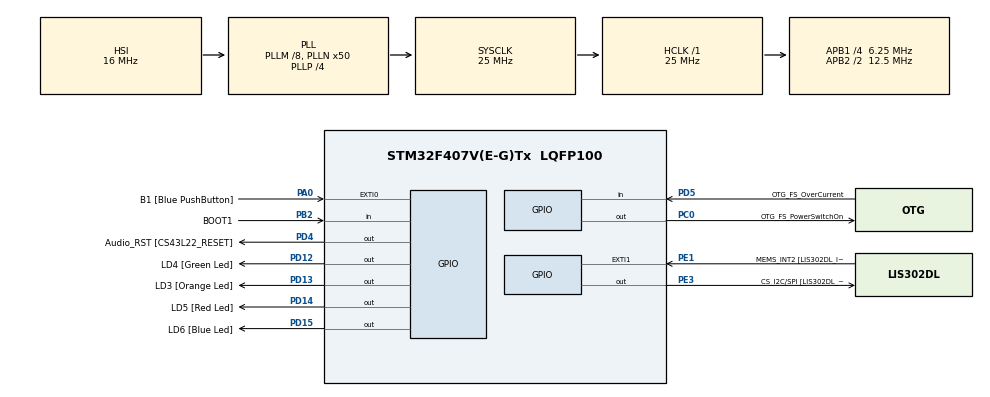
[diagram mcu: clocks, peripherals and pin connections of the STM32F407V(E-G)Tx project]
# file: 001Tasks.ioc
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Mcu.Family=STM32F4
Mcu.Name=STM32F407V(E-G)Tx
Mcu.Package=LQFP100
NVIC.PriorityGroup=NVIC_PRIORITYGROUP_4
NVIC.TIM6_DAC_IRQn=true\:0\:0\:false\:false\:true\:false\:true
NVIC.TimeBase=TIM6_DAC_IRQn
NVIC.TimeBaseIP=TIM6
PA0-WKUP.GPIO_Label=B1 [Blue PushButton]
PA0-WKUP.Signal=GPXTI0
PA10.GPIO_Label=OTG_FS_ID
PA10.GPIO_Mode=GPIO_MODE_AF_PP
PA10.GPIO_PuPd=GPIO_NOPULL
PA10.GPIO_Speed=GPIO_SPEED_FREQ_LOW
PA10.Signal=USB_OTG_FS_ID
PA11.GPIO_Label=OTG_FS_DM
PA11.GPIO_Mode=GPIO_MODE_AF_PP
PA11.GPIO_PuPd=GPIO_NOPULL
PA11.GPIO_Speed=GPIO_SPEED_FREQ_LOW
PA11.Signal=USB_OTG_FS_DM
PA12.GPIO_Label=OTG_FS_DP
PA12.GPIO_Mode=GPIO_MODE_AF_PP
PA12.GPIO_PuPd=GPIO_NOPULL
PA12.GPIO_Speed=GPIO_SPEED_FREQ_LOW
PA12.Signal=USB_OTG_FS_DP
PA13.GPIO_Label=SWDIO
PA13.Signal=SYS_JTMS-SWDIO
PA14.GPIO_Label=SWCLK
PA14.Signal=SYS_JTCK-SWCLK
PA4.GPIO_Label=I2S3_WS [CS43L22_LRCK]
PA4.GPIO_Mode=GPIO_MODE_AF_PP
PA4.GPIO_PuPd=GPIO_NOPULL
PA4.GPIO_Speed=GPIO_SPEED_FREQ_LOW
PA4.Signal=I2S3_WS
PA5.GPIO_Label=SPI1_SCK [LIS302DL_SCL/SPC]
PA5.GPIO_Mode=GPIO_MODE_AF_PP
PA5.GPIO_PuPd=GPIO_NOPULL
PA5.GPIO_Speed=GPIO_SPEED_FREQ_LOW
PA5.Signal=SPI1_SCK
PA6.GPIO_Label=SPI1_MISO [LIS302DL_SDO]
PA6.GPIO_Mode=GPIO_MODE_AF_PP
PA6.GPIO_PuPd=GPIO_NOPULL
PA6.GPIO_Speed=GPIO_SPEED_FREQ_LOW
PA6.Signal=SPI1_MISO
PA7.GPIO_Label=SPI1_MOSI [LIS302DL_SDA/SDI/SDO]
PA7.GPIO_Mode=GPIO_MODE_AF_PP
PA7.GPIO_PuPd=GPIO_NOPULL
PA7.GPIO_Speed=GPIO_SPEED_FREQ_LOW
PA7.Signal=SPI1_MOSI
PA9.GPIO_Label=VBUS_FS
PA9.GPIO_Mode=GPIO_MODE_INPUT
PA9.GPIO_PuPd=GPIO_NOPULL
PA9.Signal=USB_OTG_FS_VBUS
PB10.GPIO_Label=CLK_IN [MP45DT02_CLK]
PB10.GPIO_Mode=GPIO_MODE_AF_PP
PB10.GPIO_PuPd=GPIO_NOPULL
PB10.GPIO_Speed=GPIO_SPEED_FREQ_LOW
PB10.Signal=I2S2_CK
PB2.GPIO_Label=BOOT1
PB2.GPIO_Mode=GPIO_MODE_INPUT
PB2.GPIO_PuPd=GPIO_NOPULL
PB2.Signal=GPIO_Input
PB3.GPIO_Label=SWO
PB3.Signal=SYS_JTDO-SWO
PB6.GPIO_Label=Audio_SCL [CS43L22_SCL]
PB6.GPIO_Mode=GPIO_MODE_AF_OD
PB6.GPIO_PuPd=GPIO_NOPULL
PB6.GPIO_Speed=GPIO_SPEED_FREQ_LOW
PB6.Signal=I2C1_SCL
PB9.GPIO_Label=Audio_SDA [CS43L22_SDA]
PB9.GPIO_Mode=GPIO_MODE_AF_OD
PB9.GPIO_PuPd=GPIO_NOPULL
PB9.GPIO_Speed=GPIO_SPEED_FREQ_LOW
PB9.Signal=I2C1_SDA
PC0.GPIO_Label=OTG_FS_PowerSwitchOn
PC0.GPIO_PuPd=GPIO_NOPULL
PC0.GPIO_Speed=GPIO_SPEED_FREQ_LOW
PC0.PinState=GPIO_PIN_SET
PC0.Signal=GPIO_Output
PC10.GPIO_Label=I2S3_SCK [CS43L22_SCLK]
PC10.GPIO_Mode=GPIO_MODE_AF_PP
PC10.GPIO_PuPd=GPIO_NOPULL
PC10.GPIO_Speed=GPIO_SPEED_FREQ_LOW
PC10.Signal=I2S3_CK
PC12.GPIO_Label=I2S3_SD [CS43L22_SDIN]
PC12.GPIO_Mode=GPIO_MODE_AF_PP
PC12.GPIO_PuPd=GPIO_NOPULL
PC12.GPIO_Speed=GPIO_SPEED_FREQ_LOW
PC12.Signal=I2S3_SD
PC14-OSC32_IN.GPIO_Label=PC14-OSC32_IN
PC14-OSC32_IN.Signal=RCC_OSC32_IN
PC15-OSC32_OUT.GPIO_Label=PC15-OSC32_OUT
PC15-OSC32_OUT.Signal=RCC_OSC32_OUT
PC3.GPIO_Label=PDM_OUT [MP45DT02_DOUT]
PC3.GPIO_Mode=GPIO_MODE_AF_PP
PC3.GPIO_PuPd=GPIO_NOPULL
PC3.GPIO_Speed=GPIO_SPEED_FREQ_LOW
PC3.Signal=I2S2_SD
PC7.GPIO_Label=I2S3_MCK [CS43L22_MCLK]
PC7.GPIO_Mode=GPIO_MODE_AF_PP
PC7.GPIO_PuPd=GPIO_NOPULL
PC7.GPIO_Speed=GPIO_SPEED_FREQ_LOW
PC7.Signal=I2S3_MCK
PD12.GPIO_Label=LD4 [Green Led]
PD12.GPIO_PuPd=GPIO_NOPULL
PD12.GPIO_Speed=GPIO_SPEED_FREQ_LOW
PD12.Signal=GPIO_Output
PD13.GPIO_Label=LD3 [Orange Led]
PD13.GPIO_PuPd=GPIO_NOPULL
PD13.GPIO_Speed=GPIO_SPEED_FREQ_LOW
PD13.Signal=GPIO_Output
PD14.GPIO_Label=LD5 [Red Led]
PD14.GPIO_PuPd=GPIO_NOPULL
PD14.GPIO_Speed=GPIO_SPEED_FREQ_LOW
PD14.Signal=GPIO_Output
PD15.GPIO_Label=LD6 [Blue Led]
PD15.GPIO_PuPd=GPIO_NOPULL
PD15.GPIO_Speed=GPIO_SPEED_FREQ_LOW
PD15.Signal=GPIO_Output
PD4.GPIO_Label=Audio_RST [CS43L22_RESET]
PD4.GPIO_PuPd=GPIO_NOPULL
PD4.GPIO_Speed=GPIO_SPEED_FREQ_LOW
PD4.Signal=GPIO_Output
PD5.GPIO_Label=OTG_FS_OverCurrent
PD5.GPIO_Mode=GPIO_MODE_INPUT
PD5.GPIO_PuPd=GPIO_NOPULL
PD5.Signal=GPIO_Input
PE1.GPIO_Label=MEMS_INT2 [LIS302DL_INT2]
PE1.GPIO_ModeDefaultEXTI=GPIO_MODE_EVT_RISING
PE1.GPIO_PuPd=GPIO_NOPULL
PE1.Signal=GPXTI1
PE3.GPIO_Label=CS_I2C/SPI [LIS302DL_CS_I2C/SPI]
PE3.GPIO_PuPd=GPIO_NOPULL
PE3.GPIO_Speed=GPIO_SPEED_FREQ_LOW
PE3.Signal=GPIO_Output
PH0-OSC_IN.GPIO_Label=PH0-OSC_IN
PH0-OSC_IN.Signal=RCC_OSC_IN
PH1-OSC_OUT.GPIO_Label=PH1-OSC_OUT
PH1-OSC_OUT.Signal=RCC_OSC_OUT
ProjectManager.HeapSize=0x200
ProjectManager.StackSize=0x400
ProjectManager.TargetToolchain=STM32CubeIDE
RCC.48MHZClocksFreq_Value=14285714.285714285
RCC.AHBFreq_Value=25000000
RCC.APB1CLKDivider=RCC_HCLK_DIV4
RCC.APB1Freq_Value=6250000
RCC.APB1TimFreq_Value=12500000
RCC.APB2CLKDivider=RCC_HCLK_DIV2
RCC.APB2Freq_Value=12500000
RCC.APB2TimFreq_Value=25000000
RCC.CortexFreq_Value=25000000
RCC.HCLKFreq_Value=25000000
RCC.HSE_VALUE=8000000
RCC.HSI_VALUE=16000000
RCC.LSE_VALUE=32768
RCC.PLLM=8
RCC.PLLN=50
RCC.PLLP=RCC_PLLP_DIV4
RCC.PLLQ=7
RCC.SYSCLKFreq_VALUE=25000000
RCC.SYSCLKSource=RCC_SYSCLKSOURCE_PLLCLK
RCC.VCOOutputFreq_Value=100000000
VP_SYS_VS_tim6.Mode=TIM6
board=STM32F407G-DISC1

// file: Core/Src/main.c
/* USER CODE BEGIN Header */
/**
  ******************************************************************************
  * @file           : main.c
  * @brief          : Main program body
  ******************************************************************************
  * @attention
  *
  * <h2><center>&copy; Copyright (c) 2022 STMicroelectronics.
  * All rights reserved.</center></h2>
  *
  * This software component is licensed by ST under BSD 3-Clause license,
  * the "License"; You may not use this file except in compliance with the
  * License. You may obtain a copy of the License at:
  *                        opensource.org/licenses/BSD-3-Clause
  *
  ******************************************************************************
  */
/* USER CODE END Header */
#include "main.h"

/* USER CODE BEGIN Includes */
#include <stdio.h>
#include "FreeRTOS.h"
#include "task.h"

/* USER CODE END Includes */

void SystemClock_Config(void);
static void MX_GPIO_Init(void);
/* USER CODE BEGIN PFP */
static void task1_handler(void *parameters);
static void task2_handler(void *parameters);
/* USER CODE END PFP */

int main(void)
{
  /* USER CODE BEGIN 1 */
	TaskHandle_t task1_handle;
	TaskHandle_t task2_handle;

	BaseType_t status;

  /* USER CODE END 1 */

  /* MCU Configuration--------------------------------------------------------*/

  /* Reset of all peripherals, Initializes the Flash interface and the Systick. */
  HAL_Init();

  /* USER CODE BEGIN Init */

  status = xTaskCreate(task1_handler, "Task-1", 200, "Hello World from Task-1", 2, &task1_handle);

  configASSERT(status == pdPASS);

  status = xTaskCreate(task2_handler, "Task-2", 200, "Hello World from Task-2", 2, &task2_handle);

  configASSERT(status == pdPASS);

  // if the control comes here then the launch of the schedular has failed due to insufficient memory in heap

  /* USER CODE END Init */

  /* Configure the system clock */
  SystemClock_Config();

  /* Initialize all configured peripherals */
  MX_GPIO_Init();
  /* USER CODE BEGIN 2 */

  // start the freeRTOS schedular
  vTaskStartScheduler();

  /* USER CODE END 2 */

  /* Infinite loop */
  while (1)
  {

  }
}

void SystemClock_Config(void)
{
  RCC_OscInitTypeDef RCC_OscInitStruct = {0};
  RCC_ClkInitTypeDef RCC_ClkInitStruct = {0};

  /** Configure the main internal regulator output voltage
  */
  __HAL_RCC_PWR_CLK_ENABLE();
  __HAL_PWR_VOLTAGESCALING_CONFIG(PWR_REGULATOR_VOLTAGE_SCALE1);
  /** Initializes the RCC Oscillators according to the specified parameters
  * in the RCC_OscInitTypeDef structure.
  */
  RCC_OscInitStruct.OscillatorType = RCC_OSCILLATORTYPE_HSI;
  RCC_OscInitStruct.HSIState = RCC_HSI_ON;
  RCC_OscInitStruct.HSICalibrationValue = RCC_HSICALIBRATION_DEFAULT;
  RCC_OscInitStruct.PLL.PLLState = RCC_PLL_ON;
  RCC_OscInitStruct.PLL.PLLSource = RCC_PLLSOURCE_HSI;
  RCC_OscInitStruct.PLL.PLLM = 8;
  RCC_OscInitStruct.PLL.PLLN = 50;
  RCC_OscInitStruct.PLL.PLLP = RCC_PLLP_DIV4;
  RCC_OscInitStruct.PLL.PLLQ = 7;
  if (HAL_RCC_OscConfig(&RCC_OscInitStruct) != HAL_OK)
  {
    Error_Handler();
  }
  /** Initializes the CPU, AHB and APB buses clocks
  */
  RCC_ClkInitStruct.ClockType = RCC_CLOCKTYPE_HCLK|RCC_CLOCKTYPE_SYSCLK
                              |RCC_CLOCKTYPE_PCLK1|RCC_CLOCKTYPE_PCLK2;
  RCC_ClkInitStruct.SYSCLKSource = RCC_SYSCLKSOURCE_PLLCLK;
  RCC_ClkInitStruct.AHBCLKDivider = RCC_SYSCLK_DIV1;
  RCC_ClkInitStruct.APB1CLKDivider = RCC_HCLK_DIV4;
  RCC_ClkInitStruct.APB2CLKDivider = RCC_HCLK_DIV2;

  if (HAL_RCC_ClockConfig(&RCC_ClkInitStruct, FLASH_LATENCY_0) != HAL_OK)
  {
    Error_Handler();
  }
}

static void MX_GPIO_Init(void)
{
  GPIO_InitTypeDef GPIO_InitStruct = {0};

  /* GPIO Ports Clock Enable */
  __HAL_RCC_GPIOE_CLK_ENABLE();
  __HAL_RCC_GPIOC_CLK_ENABLE();
  __HAL_RCC_GPIOH_CLK_ENABLE();
  __HAL_RCC_GPIOA_CLK_ENABLE();
  __HAL_RCC_GPIOB_CLK_ENABLE();
  __HAL_RCC_GPIOD_CLK_ENABLE();

  /*Configure GPIO pin Output Level */
  HAL_GPIO_WritePin(CS_I2C_SPI_GPIO_Port, CS_I2C_SPI_Pin, GPIO_PIN_RESET);

  /*Configure GPIO pin Output Level */
  HAL_GPIO_WritePin(OTG_FS_PowerSwitchOn_GPIO_Port, OTG_FS_PowerSwitchOn_Pin, GPIO_PIN_SET);

  /*Configure GPIO pin Output Level */
  HAL_GPIO_WritePin(GPIOD, LD4_Pin|LD3_Pin|LD5_Pin|LD6_Pin
                          |Audio_RST_Pin, GPIO_PIN_RESET);

  /*Configure GPIO pin : CS_I2C_SPI_Pin */
  GPIO_InitStruct.Pin = CS_I2C_SPI_Pin;
  GPIO_InitStruct.Mode = GPIO_MODE_OUTPUT_PP;
  GPIO_InitStruct.Pull = GPIO_NOPULL;
  GPIO_InitStruct.Speed = GPIO_SPEED_FREQ_LOW;
  HAL_GPIO_Init(CS_I2C_SPI_GPIO_Port, &GPIO_InitStruct);

  /*Configure GPIO pin : OTG_FS_PowerSwitchOn_Pin */
  GPIO_InitStruct.Pin = OTG_FS_PowerSwitchOn_Pin;
  GPIO_InitStruct.Mode = GPIO_MODE_OUTPUT_PP;
  GPIO_InitStruct.Pull = GPIO_NOPULL;
  GPIO_InitStruct.Speed = GPIO_SPEED_FREQ_LOW;
  HAL_GPIO_Init(OTG_FS_PowerSwitchOn_GPIO_Port, &GPIO_InitStruct);

  /*Configure GPIO pin : PDM_OUT_Pin */
  GPIO_InitStruct.Pin = PDM_OUT_Pin;
  GPIO_InitStruct.Mode = GPIO_MODE_AF_PP;
  GPIO_InitStruct.Pull = GPIO_NOPULL;
  GPIO_InitStruct.Speed = GPIO_SPEED_FREQ_LOW;
  GPIO_InitStruct.Alternate = GPIO_AF5_SPI2;
  HAL_GPIO_Init(PDM_OUT_GPIO_Port, &GPIO_InitStruct);

  /*Configure GPIO pin : B1_Pin */
  GPIO_InitStruct.Pin = B1_Pin;
  GPIO_InitStruct.Mode = GPIO_MODE_IT_RISING;
  GPIO_InitStruct.Pull = GPIO_NOPULL;
  HAL_GPIO_Init(B1_GPIO_Port, &GPIO_InitStruct);

  /*Configure GPIO pin : I2S3_WS_Pin */
  GPIO_InitStruct.Pin = I2S3_WS_Pin;
  GPIO_InitStruct.Mode = GPIO_MODE_AF_PP;
  GPIO_InitStruct.Pull = GPIO_NOPULL;
  GPIO_InitStruct.Speed = GPIO_SPEED_FREQ_LOW;
  GPIO_InitStruct.Alternate = GPIO_AF6_SPI3;
  HAL_GPIO_Init(I2S3_WS_GPIO_Port, &GPIO_InitStruct);

  /*Configure GPIO pins : SPI1_SCK_Pin SPI1_MISO_Pin SPI1_MOSI_Pin */
  GPIO_InitStruct.Pin = SPI1_SCK_Pin|SPI1_MISO_Pin|SPI1_MOSI_Pin;
  GPIO_InitStruct.Mode = GPIO_MODE_AF_PP;
  GPIO_InitStruct.Pull = GPIO_NOPULL;
  GPIO_InitStruct.Speed = GPIO_SPEED_FREQ_LOW;
  GPIO_InitStruct.Alternate = GPIO_AF5_SPI1;
  HAL_GPIO_Init(GPIOA, &GPIO_InitStruct);

  /*Configure GPIO pin : BOOT1_Pin */
  GPIO_InitStruct.Pin = BOOT1_Pin;
  GPIO_InitStruct.Mode = GPIO_MODE_INPUT;
  GPIO_InitStruct.Pull = GPIO_NOPULL;
  HAL_GPIO_Init(BOOT1_GPIO_Port, &GPIO_InitStruct);

  /*Configure GPIO pin : CLK_IN_Pin */
  GPIO_InitStruct.Pin = CLK_IN_Pin;
  GPIO_InitStruct.Mode = GPIO_MODE_AF_PP;
  GPIO_InitStruct.Pull = GPIO_NOPULL;
  GPIO_InitStruct.Speed = GPIO_SPEED_FREQ_LOW;
  GPIO_InitStruct.Alternate = GPIO_AF5_SPI2;
  HAL_GPIO_Init(CLK_IN_GPIO_Port, &GPIO_InitStruct);

  /*Configure GPIO pins : LD4_Pin LD3_Pin LD5_Pin LD6_Pin
                           Audio_RST_Pin */
  GPIO_InitStruct.Pin = LD4_Pin|LD3_Pin|LD5_Pin|LD6_Pin
                          |Audio_RST_Pin;
  GPIO_InitStruct.Mode = GPIO_MODE_OUTPUT_PP;
  GPIO_InitStruct.Pull = GPIO_NOPULL;
  GPIO_InitStruct.Speed = GPIO_SPEED_FREQ_LOW;
  HAL_GPIO_Init(GPIOD, &GPIO_InitStruct);

  /*Configure GPIO pins : I2S3_MCK_Pin I2S3_SCK_Pin I2S3_SD_Pin */
  GPIO_InitStruct.Pin = I2S3_MCK_Pin|I2S3_SCK_Pin|I2S3_SD_Pin;
  GPIO_InitStruct.Mode = GPIO_MODE_AF_PP;
  GPIO_InitStruct.Pull = GPIO_NOPULL;
  GPIO_InitStruct.Speed = GPIO_SPEED_FREQ_LOW;
  GPIO_InitStruct.Alternate = GPIO_AF6_SPI3;
  HAL_GPIO_Init(GPIOC, &GPIO_InitStruct);

  /*Configure GPIO pin : VBUS_FS_Pin */
  GPIO_InitStruct.Pin = VBUS_FS_Pin;
  GPIO_InitStruct.Mode = GPIO_MODE_INPUT;
  GPIO_InitStruct.Pull = GPIO_NOPULL;
  HAL_GPIO_Init(VBUS_FS_GPIO_Port, &GPIO_InitStruct);

  /*Configure GPIO pins : OTG_FS_ID_Pin OTG_FS_DM_Pin OTG_FS_DP_Pin */
  GPIO_InitStruct.Pin = OTG_FS_ID_Pin|OTG_FS_DM_Pin|OTG_FS_DP_Pin;
  GPIO_InitStruct.Mode = GPIO_MODE_AF_PP;
  GPIO_InitStruct.Pull = GPIO_NOPULL;
  GPIO_InitStruct.Speed = GPIO_SPEED_FREQ_LOW;
  GPIO_InitStruct.Alternate = GPIO_AF10_OTG_FS;
  HAL_GPIO_Init(GPIOA, &GPIO_InitStruct);

  /*Configure GPIO pin : OTG_FS_OverCurrent_Pin */
  GPIO_InitStruct.Pin = OTG_FS_OverCurrent_Pin;
  GPIO_InitStruct.Mode = GPIO_MODE_INPUT;
  GPIO_InitStruct.Pull = GPIO_NOPULL;
  HAL_GPIO_Init(OTG_FS_OverCurrent_GPIO_Port, &GPIO_InitStruct);

  /*Configure GPIO pins : Audio_SCL_Pin Audio_SDA_Pin */
  GPIO_InitStruct.Pin = Audio_SCL_Pin|Audio_SDA_Pin;
  GPIO_InitStruct.Mode = GPIO_MODE_AF_OD;
  GPIO_InitStruct.Pull = GPIO_NOPULL;
  GPIO_InitStruct.Speed = GPIO_SPEED_FREQ_LOW;
  GPIO_InitStruct.Alternate = GPIO_AF4_I2C1;
  HAL_GPIO_Init(GPIOB, &GPIO_InitStruct);

  /*Configure GPIO pin : MEMS_INT2_Pin */
  GPIO_InitStruct.Pin = MEMS_INT2_Pin;
  GPIO_InitStruct.Mode = GPIO_MODE_EVT_RISING;
  GPIO_InitStruct.Pull = GPIO_NOPULL;
  HAL_GPIO_Init(MEMS_INT2_GPIO_Port, &GPIO_InitStruct);

}

/* USER CODE BEGIN 4 */

static void task1_handler(void *parameters)
{
	while(1)
	{
		printf("%s\n", (char*)parameters);
	}
}

static void task2_handler(void *parameters)
{
	while(1)
	{
		printf("%s\n", (char*)parameters);
	}
}

/* USER CODE END 4 */

void HAL_TIM_PeriodElapsedCallback(TIM_HandleTypeDef *htim)
{
  if (htim->Instance == TIM6) {
    HAL_IncTick();
  }
}

void Error_Handler(void)
{
  __disable_irq();
  while (1)
  {
  }
}

/************************ (C) COPYRIGHT STMicroelectronics *****END OF FILE****/
